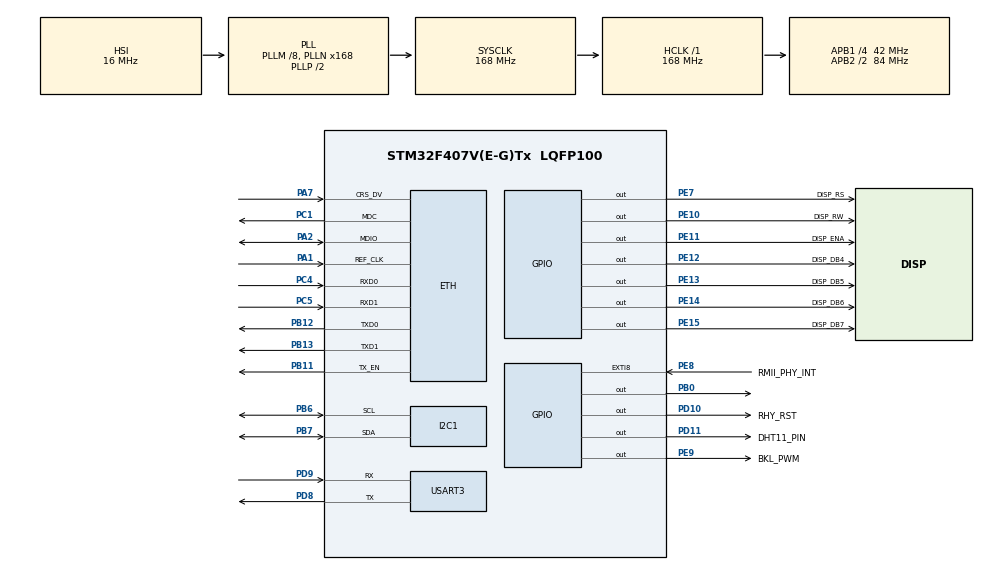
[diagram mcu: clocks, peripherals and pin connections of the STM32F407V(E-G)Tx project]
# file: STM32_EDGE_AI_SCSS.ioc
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ETH.MediaInterface=HAL_ETH_RMII_MODE
LWIP.BSP.number=1
LWIP.Version=v2.1.2_Cube
LWIP0.BSP.STBoard=false
LWIP0.BSP.api=BSP_COMPONENT_DRIVER
LWIP0.BSP.component=USER_PHY
LWIP0.BSP.instance=USER_PHY
LWIP0.BSP.name=Driver_PHY
LWIP0.BSP.semaphore=S_USER_PHY
LWIP0.BSP.solution=USER_PHY
Mcu.Family=STM32F4
Mcu.Name=STM32F407V(E-G)Tx
Mcu.Package=LQFP100
NVIC.ETH_IRQn=true\:0\:0\:false\:false\:true\:true\:true\:true
NVIC.EXTI9_5_IRQn=true\:0\:0\:false\:false\:true\:true\:true\:true
NVIC.PriorityGroup=NVIC_PRIORITYGROUP_4
PA1.Mode=RMII
PA1.Signal=ETH_REF_CLK
PA13.Mode=Serial_Wire
PA13.Signal=SYS_JTMS-SWDIO
PA14.Mode=Serial_Wire
PA14.Signal=SYS_JTCK-SWCLK
PA2.Mode=RMII
PA2.Signal=ETH_MDIO
PA7.Mode=RMII
PA7.Signal=ETH_CRS_DV
PB0.Signal=GPIO_Output
PB11.Mode=RMII
PB11.Signal=ETH_TX_EN
PB12.Mode=RMII
PB12.Signal=ETH_TXD0
PB13.Mode=RMII
PB13.Signal=ETH_TXD1
PB6.Mode=I2C
PB6.Signal=I2C1_SCL
PB7.Mode=I2C
PB7.Signal=I2C1_SDA
PC1.Mode=RMII
PC1.Signal=ETH_MDC
PC4.Mode=RMII
PC4.Signal=ETH_RXD0
PC5.Mode=RMII
PC5.Signal=ETH_RXD1
PD10.GPIO_Label=RHY_RST
PD10.Signal=GPIO_Output
PD11.GPIO_Label=DHT11_PIN
PD11.PinState=GPIO_PIN_SET
PD11.Signal=GPIO_Output
PD8.Mode=Asynchronous
PD8.Signal=USART3_TX
PD9.Mode=Asynchronous
PD9.Signal=USART3_RX
PE10.GPIO_Label=DISP_RW
PE10.Signal=GPIO_Output
PE11.GPIO_Label=DISP_ENA
PE11.Signal=GPIO_Output
PE12.GPIO_Label=DISP_DB4
PE12.Signal=GPIO_Output
PE13.GPIO_Label=DISP_DB5
PE13.Signal=GPIO_Output
PE14.GPIO_Label=DISP_DB6
PE14.Signal=GPIO_Output
PE15.GPIO_Label=DISP_DB7
PE15.Signal=GPIO_Output
PE7.GPIO_Label=DISP_RS
PE7.Signal=GPIO_Output
PE8.GPIO_Label=RMII_PHY_INT
PE8.Signal=GPXTI8
PE9.GPIO_Label=BKL_PWM
PE9.Signal=GPIO_Output
PH0-OSC_IN.Mode=HSE-External-Oscillator
PH0-OSC_IN.Signal=RCC_OSC_IN
PH1-OSC_OUT.Mode=HSE-External-Oscillator
PH1-OSC_OUT.Signal=RCC_OSC_OUT
ProjectManager.HeapSize=0x4000
ProjectManager.StackSize=0x2000
ProjectManager.TargetToolchain=STM32CubeIDE
RCC.48MHZClocksFreq_Value=84000000
RCC.AHBFreq_Value=168000000
RCC.APB1CLKDivider=RCC_HCLK_DIV4
RCC.APB1Freq_Value=42000000
RCC.APB1TimFreq_Value=84000000
RCC.APB2CLKDivider=RCC_HCLK_DIV2
RCC.APB2Freq_Value=84000000
RCC.APB2TimFreq_Value=168000000
RCC.CortexFreq_Value=168000000
RCC.HCLKFreq_Value=168000000
RCC.HSE_VALUE=25000000
RCC.HSI_VALUE=16000000
RCC.LSE_VALUE=32768
RCC.PLLM=8
RCC.PLLN=168
RCC.SYSCLKFreq_VALUE=168000000
RCC.SYSCLKSource=RCC_SYSCLKSOURCE_PLLCLK
RCC.VCOOutputFreq_Value=336000000
TIM6.Prescaler=83
USART3.VirtualMode=VM_ASYNC
VP_LWIP_VS_Enabled.Mode=Enabled
VP_TIM6_VS_ClockSourceINT.Mode=Enable_Timer
board=custom

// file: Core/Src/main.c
/* USER CODE BEGIN Header */
/**
  ******************************************************************************
  * @file           : main.c
  * @brief          : Main program body
  ******************************************************************************
  */
/* USER CODE END Header */

#include "main.h"
#include "lwip.h"

/* USER CODE BEGIN Includes */
#include <stdio.h>
#include <string.h>
#include "lcd_hd44780.h"
#include "ags.h"
#include "lwip/tcp.h"
#include "secrets.h"
/* USER CODE END Includes */

I2C_HandleTypeDef hi2c1;
TIM_HandleTypeDef htim6;
UART_HandleTypeDef huart3;

/* USER CODE BEGIN PV */
uint8_t Rh_byte1, Rh_byte2, Temp_byte1, Temp_byte2;
uint16_t SUM;
uint8_t Presence = 0;

const char* thingspeak_api_key = THINGSPEAK_API_KEY;
char http_request[256];
/* USER CODE END PV */

void SystemClock_Config(void);
static void MX_GPIO_Init(void);
static void MX_TIM6_Init(void);
static void MX_USART3_UART_Init(void);
static void MX_I2C1_Init(void);

/* USER CODE BEGIN PFP */
/* Declarata in app.cpp, apelata din main.c */
extern Model_data run_ei_app(float temperature, float humidity, float tvoc_val);
/* USER CODE END PFP */

/* USER CODE BEGIN 0 */

#ifdef __GNUC__
  #define PUTCHAR_PROTOTYPE int __io_putchar(int ch)
#else
  #define PUTCHAR_PROTOTYPE int fputc(int ch, FILE *f)
#endif

PUTCHAR_PROTOTYPE
{
  HAL_UART_Transmit(&huart3, (uint8_t *)&ch, 1, HAL_MAX_DELAY);
  return ch;
}

void delay_us(uint16_t us)
{
	__HAL_TIM_SET_COUNTER(&htim6, 0);
	  uint32_t start_tick = HAL_GetTick();
	  while (__HAL_TIM_GET_COUNTER(&htim6) < us) {
	      if ((HAL_GetTick() - start_tick) > 5) break;
	  }
}

/* =========================================================
   FUNCTII ETHERNET - TCP CLIENT PENTRU THINGSPEAK
   ========================================================= */
static err_t http_recv_cb(void *arg, struct tcp_pcb *tpcb, struct pbuf *p, err_t err) {
    if (p == NULL) {
        tcp_close(tpcb);
        HAL_UART_Transmit(&huart3, (uint8_t*)"[TCP] Conexiune inchisa de server (Succes).\r\n", 45, 100);
        return ERR_OK;
    }

    tcp_recved(tpcb, p->tot_len);

    HAL_UART_Transmit(&huart3, (uint8_t*)"[TCP] Raspuns primit de la ThingSpeak:\r\n", 40, 100);
    HAL_UART_Transmit(&huart3, (uint8_t*)p->payload, p->len, 500);
    HAL_UART_Transmit(&huart3, (uint8_t*)"\r\n", 2, 100);

    pbuf_free(p);

    return ERR_OK;
}

static void http_err_cb(void *arg, err_t err) {
    extern UART_HandleTypeDef huart3;
    char err_msg[64];
    sprintf(err_msg, "[TCP] Eroare conexiune ThingSpeak! Cod eroare: %d\r\n", err);
    HAL_UART_Transmit(&huart3, (uint8_t*)err_msg, strlen(err_msg), 100);
}

static err_t http_connected_cb(void *arg, struct tcp_pcb *tpcb, err_t err) {
    if (err != ERR_OK) {
        return err;
    }

    HAL_UART_Transmit(&huart3, (uint8_t*)"[TCP] Conectat la server. Trimitem datele...\r\n", 46, 100);

    extern char http_request[];
    tcp_write(tpcb, http_request, strlen(http_request), TCP_WRITE_FLAG_COPY);
    tcp_output(tpcb);

    tcp_recv(tpcb, http_recv_cb);
    return ERR_OK;
}

void send_to_thingspeak(float t, float h, uint32_t tvoc, float anomaly) {
    struct tcp_pcb *tpcb;
    ip4_addr_t server_ip;

    // IP-ul fix pentru api.thingspeak.com
    IP4_ADDR(&server_ip, 184, 106, 153, 149);

    tpcb = tcp_new();
    if (tpcb == NULL) {
        extern UART_HandleTypeDef huart3;
        HAL_UART_Transmit(&huart3, (uint8_t*)"[TCP] Esec alocare memorie LwIP!\r\n", 34, 100);
        return;
    }

    // Format HTTP 1.1 Corect
    // Trebuie specificat Host si acceptat raspunsul
    sprintf(http_request,
            "GET /update?api_key=%s&field1=%.1f&field2=%.1f&field3=%lu&field4=%.3f HTTP/1.1\r\n"
            "Host: api.thingspeak.com\r\n"
            "Connection: close\r\n"
            "Accept: */*\r\n"
            "\r\n",
            thingspeak_api_key, t, h, tvoc, anomaly);

    tcp_err(tpcb, http_err_cb);
    tcp_connect(tpcb, &server_ip, 80, http_connected_cb);
}

/* =========================================================
   FUNCTII DHT11
   ========================================================= */
void Set_Pin_Output(GPIO_TypeDef *GPIOx, uint16_t GPIO_Pin)
{
  GPIO_InitTypeDef GPIO_InitStruct = {0};
  GPIO_InitStruct.Pin   = GPIO_Pin;
  GPIO_InitStruct.Mode  = GPIO_MODE_OUTPUT_PP;
  GPIO_InitStruct.Speed = GPIO_SPEED_FREQ_HIGH;
  HAL_GPIO_Init(GPIOx, &GPIO_InitStruct);
}

void Set_Pin_Input(GPIO_TypeDef *GPIOx, uint16_t GPIO_Pin)
{
  GPIO_InitTypeDef GPIO_InitStruct = {0};
  GPIO_InitStruct.Pin  = GPIO_Pin;
  GPIO_InitStruct.Mode = GPIO_MODE_INPUT;
  GPIO_InitStruct.Pull = GPIO_PULLUP;
  HAL_GPIO_Init(GPIOx, &GPIO_InitStruct);
}

void DHT11_Start(void)
{
  Set_Pin_Output(DHT11_PIN_GPIO_Port, DHT11_PIN_Pin);
  HAL_GPIO_WritePin(DHT11_PIN_GPIO_Port, DHT11_PIN_Pin, GPIO_PIN_RESET);
  HAL_Delay(18);
  HAL_GPIO_WritePin(DHT11_PIN_GPIO_Port, DHT11_PIN_Pin, GPIO_PIN_SET);
  delay_us(20);
  Set_Pin_Input(DHT11_PIN_GPIO_Port, DHT11_PIN_Pin);
}

uint8_t DHT11_Check_Response(void)
{
  uint8_t Response = 0;
  delay_us(40);
  if (!(HAL_GPIO_ReadPin(DHT11_PIN_GPIO_Port, DHT11_PIN_Pin)))
  {
    delay_us(80);
    if ((HAL_GPIO_ReadPin(DHT11_PIN_GPIO_Port, DHT11_PIN_Pin)))
      Response = 1;
    else
      Response = (uint8_t)-1;
  }

  uint32_t timeout = 0;
  while ((HAL_GPIO_ReadPin(DHT11_PIN_GPIO_Port, DHT11_PIN_Pin))) {
      timeout++;
      if (timeout > 50000) return 0;
  }
  return Response;
}

uint8_t DHT11_Read(void)
{
  uint8_t i = 0, j;
  for (j = 0; j < 8; j++)
  {
    uint32_t timeout = 0;
    while (!(HAL_GPIO_ReadPin(DHT11_PIN_GPIO_Port, DHT11_PIN_Pin))) {
        timeout++;
        if (timeout > 50000) return 0;
    }

    delay_us(40);

    if (!(HAL_GPIO_ReadPin(DHT11_PIN_GPIO_Port, DHT11_PIN_Pin)))
      i &= ~(1 << (7 - j));
    else
    {
      i |= (1 << (7 - j));
      timeout = 0;
      while ((HAL_GPIO_ReadPin(DHT11_PIN_GPIO_Port, DHT11_PIN_Pin))) {
          timeout++;
          if (timeout > 50000) return 0;
      }
    }
  }
  return i;
}
/* USER CODE END 0 */

int main(void)
{

  /* MCU Configuration--------------------------------------------------------*/
  /* Reset of all peripherals, Initializes the Flash interface and the Systick. */
  HAL_Init();

  /* Configure the system clock */
  SystemClock_Config();

  /* Initialize all configured peripherals */
  MX_GPIO_Init();
  MX_TIM6_Init();
  MX_USART3_UART_Init();
  MX_I2C1_Init();

  /* USER CODE BEGIN SysInit_extra */
  HAL_TIM_Base_Start(&htim6);
  /* USER CODE END SysInit_extra */

  /* USER CODE BEGIN 2 */
  char startMsg[] = "STM32F407 DHT11 + AGS10 + Edge Impulse Started...\r\n";
  HAL_UART_Transmit(&huart3, (uint8_t*)startMsg, strlen(startMsg), HAL_MAX_DELAY);

  HAL_GPIO_WritePin(GPIOB, GPIO_PIN_0, GPIO_PIN_RESET);

  // ========================================================================
  // 1. HARDWARE RESET PENTRU PHY (KSZ8021)
  // ========================================================================
  HAL_UART_Transmit(&huart3, (uint8_t*)"\r\n[ETH] Assert hardware reset (LOW)...\r\n", 40, 100);
  HAL_GPIO_WritePin(RHY_RST_GPIO_Port, RHY_RST_Pin, GPIO_PIN_RESET);

  HAL_Delay(50); //minim 10ms conform datasheet

  HAL_UART_Transmit(&huart3, (uint8_t*)"[ETH] De-assert hardware reset (HIGH)...\r\n", 42, 100);
  HAL_GPIO_WritePin(RHY_RST_GPIO_Port, RHY_RST_Pin, GPIO_PIN_SET);

  HAL_Delay(50);

  // ========================================================================
  // 2. INIȚIALIZARE ETHERNET & LwIP
  // ========================================================================
  HAL_UART_Transmit(&huart3, (uint8_t*)"[ETH] Initializare MAC si LwIP...\r\n", 35, 100);

  MX_LWIP_Init();

  extern struct netif gnetif;
  netif_set_link_up(&gnetif);

  extern ETH_HandleTypeDef heth;
  HAL_ETH_Start(&heth);
  HAL_UART_Transmit(&huart3, (uint8_t*)"[ETH] MAC si DMA au fost pornite (HAL_ETH_Start)!\r\n", 51, 100);

  lcd_backlight(1);
  lcd_init();
  lcd_clear();
  lcd_set_cursor(0, 0);
  lcd_print("STM32 Edge AI");
  lcd_set_cursor(1, 0);
  lcd_print("Sensors Init...");

  HAL_Delay(2000);
  lcd_clear();
  /* USER CODE END 2 */

  /* Infinite loop */
  /* USER CODE BEGIN WHILE */
  uint32_t last_cloud_time = 0;
  uint32_t last_lcd_time = 0;
  uint32_t last_net_debug = 0;

  while(1)
  {
    /* USER CODE END WHILE */
    /* USER CODE BEGIN 3 */

    MX_LWIP_Process();

    // --- DEBUG RETEA ---
    if (HAL_GetTick() - last_net_debug > 5000) {
        last_net_debug = HAL_GetTick();

        uint32_t phy_bsr = 0;
        extern ETH_HandleTypeDef heth;
        HAL_ETH_ReadPHYRegister(&heth, 0, 0x01, &phy_bsr);

        char net_dbg[128];
        uint8_t *ip = (uint8_t *)&gnetif.ip_addr.addr;
        sprintf(net_dbg, "\r\n[NET DEBUG] PHY BSR Reg: 0x%04lX -> Link Fizic: %s | IP LwIP: %d.%d.%d.%d\r\n\r\n",
                phy_bsr,
                (phy_bsr & 0x0004) ? "UP" : "DOWN",
                ip[0], ip[1], ip[2], ip[3]);
        HAL_UART_Transmit(&huart3, (uint8_t*)net_dbg, strlen(net_dbg), 100);
    }

    if (HAL_GetTick() - last_lcd_time > 2500)
    {
      last_lcd_time = HAL_GetTick();

      // --- 1. DHT11 ---
      float temperature = 0.0f;
      float humidity = 0.0f;

      DHT11_Start();
      Presence = DHT11_Check_Response();

      if (Presence == 1)
      {
        Rh_byte1   = DHT11_Read();
        Rh_byte2   = DHT11_Read();
        Temp_byte1 = DHT11_Read();
        Temp_byte2 = DHT11_Read();
        SUM        = DHT11_Read();

        if (SUM == (uint16_t)(Rh_byte1 + Rh_byte2 + Temp_byte1 + Temp_byte2))
        {
          temperature = (float)Temp_byte1 + (float)Temp_byte2 / 10.0f;
          humidity    = (float)Rh_byte1   + (float)Rh_byte2   / 10.0f;
        }
        else {
          HAL_UART_Transmit(&huart3, (uint8_t*)"Eroare: Checksum invalid DHT11!\r\n", 33, 100);
        }
      }
      else {
        HAL_UART_Transmit(&huart3, (uint8_t*)"Eroare: DHT11 nu raspunde!\r\n", 28, 100);
      }

      // --- 2. AGS10 ---
      uint32_t tvoc_val = 0;
      if (AGS10_Read_TVOC(&hi2c1, &tvoc_val)) {
          // OK
      } else {
          HAL_UART_Transmit(&huart3, (uint8_t*)"Eroare: AGS10 nu raspunde (I2C)!\r\n", 35, 100);
      }

      uint32_t start_inference = HAL_GetTick();
      // --- 3. Inferenta Edge Impulse ---
      Model_data results = run_ei_app(temperature, humidity, (float)tvoc_val);

      uint32_t inference_time = HAL_GetTick() - start_inference;

      // --- 4. Afisare Debug pe Seriala (huart3) ---
      char msg[150];
            sprintf(msg, "AI: %s (%.1f%%) | Anomaly: %.3f | T:%.1f H:%.1f TVOC:%lu\r\n"
                         "-> Timp inferenta: %lu ms\r\n",
                          results.Label, results.Percentage, results.Anomaly,
                          temperature, humidity, tvoc_val,
                          inference_time);
            HAL_UART_Transmit(&huart3, (uint8_t*)msg, strlen(msg), 100);

      // --- 5. LCD(16x2) ---
      char lcd_buf[17];
      lcd_clear();
      lcd_set_cursor(0, 0);
      sprintf(lcd_buf, "T:%.1f V:%lu", temperature, tvoc_val);
      lcd_print(lcd_buf);

      lcd_set_cursor(1, 0);
      if (results.Anomaly > 0.5f) {
          sprintf(lcd_buf, "! %s (%.0f%%)", results.Label, results.Percentage);
      } else {
          sprintf(lcd_buf, "AI:%s (%.0f%%)", results.Label, results.Percentage);
      }
      lcd_print(lcd_buf);

      // --- 6. ThingSpeak ---
      if (HAL_GetTick() - last_cloud_time > 15000){
          last_cloud_time = HAL_GetTick();
          extern struct netif gnetif;

          if (gnetif.ip_addr.addr != 0) {
              HAL_UART_Transmit(&huart3, (uint8_t*)"---> TCP Trimitere spre ThingSpeak...\r\n", 39, 100);
              send_to_thingspeak(temperature, humidity, tvoc_val, results.Anomaly);
          } else {
              HAL_UART_Transmit(&huart3, (uint8_t*)"---> Asteptare DHCP (IP lipsa)...\r\n", 35, 100);
          }
      }

    }
  }
  /* USER CODE END 3 */
}

void SystemClock_Config(void)
{
  RCC_OscInitTypeDef RCC_OscInitStruct = {0};
  RCC_ClkInitTypeDef RCC_ClkInitStruct = {0};

  __HAL_RCC_PWR_CLK_ENABLE();
  __HAL_PWR_VOLTAGESCALING_CONFIG(PWR_REGULATOR_VOLTAGE_SCALE1);

  RCC_OscInitStruct.OscillatorType = RCC_OSCILLATORTYPE_HSI;
  RCC_OscInitStruct.HSIState = RCC_HSI_ON;
  RCC_OscInitStruct.HSICalibrationValue = RCC_HSICALIBRATION_DEFAULT;
  RCC_OscInitStruct.PLL.PLLState = RCC_PLL_ON;
  RCC_OscInitStruct.PLL.PLLSource = RCC_PLLSOURCE_HSI;
  RCC_OscInitStruct.PLL.PLLM = 8;
  RCC_OscInitStruct.PLL.PLLN = 168;
  RCC_OscInitStruct.PLL.PLLP = RCC_PLLP_DIV2;
  RCC_OscInitStruct.PLL.PLLQ = 4;
  if (HAL_RCC_OscConfig(&RCC_OscInitStruct) != HAL_OK)
  {
    Error_Handler();
  }

  RCC_ClkInitStruct.ClockType = RCC_CLOCKTYPE_HCLK|RCC_CLOCKTYPE_SYSCLK
                              |RCC_CLOCKTYPE_PCLK1|RCC_CLOCKTYPE_PCLK2;
  RCC_ClkInitStruct.SYSCLKSource = RCC_SYSCLKSOURCE_PLLCLK;
  RCC_ClkInitStruct.AHBCLKDivider = RCC_SYSCLK_DIV1;
  RCC_ClkInitStruct.APB1CLKDivider = RCC_HCLK_DIV4;
  RCC_ClkInitStruct.APB2CLKDivider = RCC_HCLK_DIV2;

  if (HAL_RCC_ClockConfig(&RCC_ClkInitStruct, FLASH_LATENCY_5) != HAL_OK)
  {
    Error_Handler();
  }
}

static void MX_I2C1_Init(void)
{
  hi2c1.Instance = I2C1;
  hi2c1.Init.ClockSpeed = 100000;
  hi2c1.Init.DutyCycle = I2C_DUTYCYCLE_2;
  hi2c1.Init.OwnAddress1 = 0;
  hi2c1.Init.AddressingMode = I2C_ADDRESSINGMODE_7BIT;
  hi2c1.Init.DualAddressMode = I2C_DUALADDRESS_DISABLE;
  hi2c1.Init.OwnAddress2 = 0;
  hi2c1.Init.GeneralCallMode = I2C_GENERALCALL_DISABLE;
  hi2c1.Init.NoStretchMode = I2C_NOSTRETCH_DISABLE;
  if (HAL_I2C_Init(&hi2c1) != HAL_OK)
  {
    Error_Handler();
  }
}

static void MX_TIM6_Init(void)
{
  TIM_MasterConfigTypeDef sMasterConfig = {0};
  htim6.Instance = TIM6;
  htim6.Init.Prescaler = 83;
  htim6.Init.CounterMode = TIM_COUNTERMODE_UP;
  htim6.Init.Period = 65535;
  htim6.Init.AutoReloadPreload = TIM_AUTORELOAD_PRELOAD_DISABLE;
  if (HAL_TIM_Base_Init(&htim6) != HAL_OK)
  {
    Error_Handler();
  }
  sMasterConfig.MasterOutputTrigger = TIM_TRGO_RESET;
  sMasterConfig.MasterSlaveMode = TIM_MASTERSLAVEMODE_DISABLE;
  if (HAL_TIMEx_MasterConfigSynchronization(&htim6, &sMasterConfig) != HAL_OK)
  {
    Error_Handler();
  }
}

static void MX_USART3_UART_Init(void)
{
  huart3.Instance = USART3;
  huart3.Init.BaudRate = 115200;
  huart3.Init.WordLength = UART_WORDLENGTH_8B;
  huart3.Init.StopBits = UART_STOPBITS_1;
  huart3.Init.Parity = UART_PARITY_NONE;
  huart3.Init.Mode = UART_MODE_TX_RX;
  huart3.Init.HwFlowCtl = UART_HWCONTROL_NONE;
  huart3.Init.OverSampling = UART_OVERSAMPLING_16;
  if (HAL_UART_Init(&huart3) != HAL_OK)
  {
    Error_Handler();
  }
}

static void MX_GPIO_Init(void)
{
  GPIO_InitTypeDef GPIO_InitStruct = {0};

  __HAL_RCC_GPIOH_CLK_ENABLE();
  __HAL_RCC_GPIOC_CLK_ENABLE();
  __HAL_RCC_GPIOA_CLK_ENABLE();
  __HAL_RCC_GPIOB_CLK_ENABLE();
  __HAL_RCC_GPIOE_CLK_ENABLE();
  __HAL_RCC_GPIOD_CLK_ENABLE();

  HAL_GPIO_WritePin(GPIOB, GPIO_PIN_0, GPIO_PIN_RESET);
  HAL_GPIO_WritePin(GPIOE, DISP_RS_Pin|BKL_PWM_Pin|DISP_RW_Pin|DISP_ENA_Pin
                          |DISP_DB4_Pin|DISP_DB5_Pin|DISP_DB6_Pin|DISP_DB7_Pin, GPIO_PIN_RESET);
  HAL_GPIO_WritePin(RHY_RST_GPIO_Port, RHY_RST_Pin, GPIO_PIN_RESET);
  HAL_GPIO_WritePin(DHT11_PIN_GPIO_Port, DHT11_PIN_Pin, GPIO_PIN_SET);

  GPIO_InitStruct.Pin = GPIO_PIN_0;
  GPIO_InitStruct.Mode = GPIO_MODE_OUTPUT_PP;
  GPIO_InitStruct.Pull = GPIO_NOPULL;
  GPIO_InitStruct.Speed = GPIO_SPEED_FREQ_LOW;
  HAL_GPIO_Init(GPIOB, &GPIO_InitStruct);

  GPIO_InitStruct.Pin = DISP_RS_Pin|BKL_PWM_Pin|DISP_RW_Pin|DISP_ENA_Pin
                          |DISP_DB4_Pin|DISP_DB5_Pin|DISP_DB6_Pin|DISP_DB7_Pin;
  GPIO_InitStruct.Mode = GPIO_MODE_OUTPUT_PP;
  GPIO_InitStruct.Pull = GPIO_NOPULL;
  GPIO_InitStruct.Speed = GPIO_SPEED_FREQ_LOW;
  HAL_GPIO_Init(GPIOE, &GPIO_InitStruct);

  GPIO_InitStruct.Pin = RMII_PHY_INT_Pin;
  GPIO_InitStruct.Mode = GPIO_MODE_IT_RISING;
  GPIO_InitStruct.Pull = GPIO_NOPULL;
  HAL_GPIO_Init(RMII_PHY_INT_GPIO_Port, &GPIO_InitStruct);

  GPIO_InitStruct.Pin = RHY_RST_Pin|DHT11_PIN_Pin;
  GPIO_InitStruct.Mode = GPIO_MODE_OUTPUT_PP;
  GPIO_InitStruct.Pull = GPIO_NOPULL;
  GPIO_InitStruct.Speed = GPIO_SPEED_FREQ_LOW;
  HAL_GPIO_Init(GPIOD, &GPIO_InitStruct);

  HAL_NVIC_SetPriority(EXTI9_5_IRQn, 0, 0);
  HAL_NVIC_EnableIRQ(EXTI9_5_IRQn);
}

void Error_Handler(void)
{
  __disable_irq();
  while (1) {}
}
